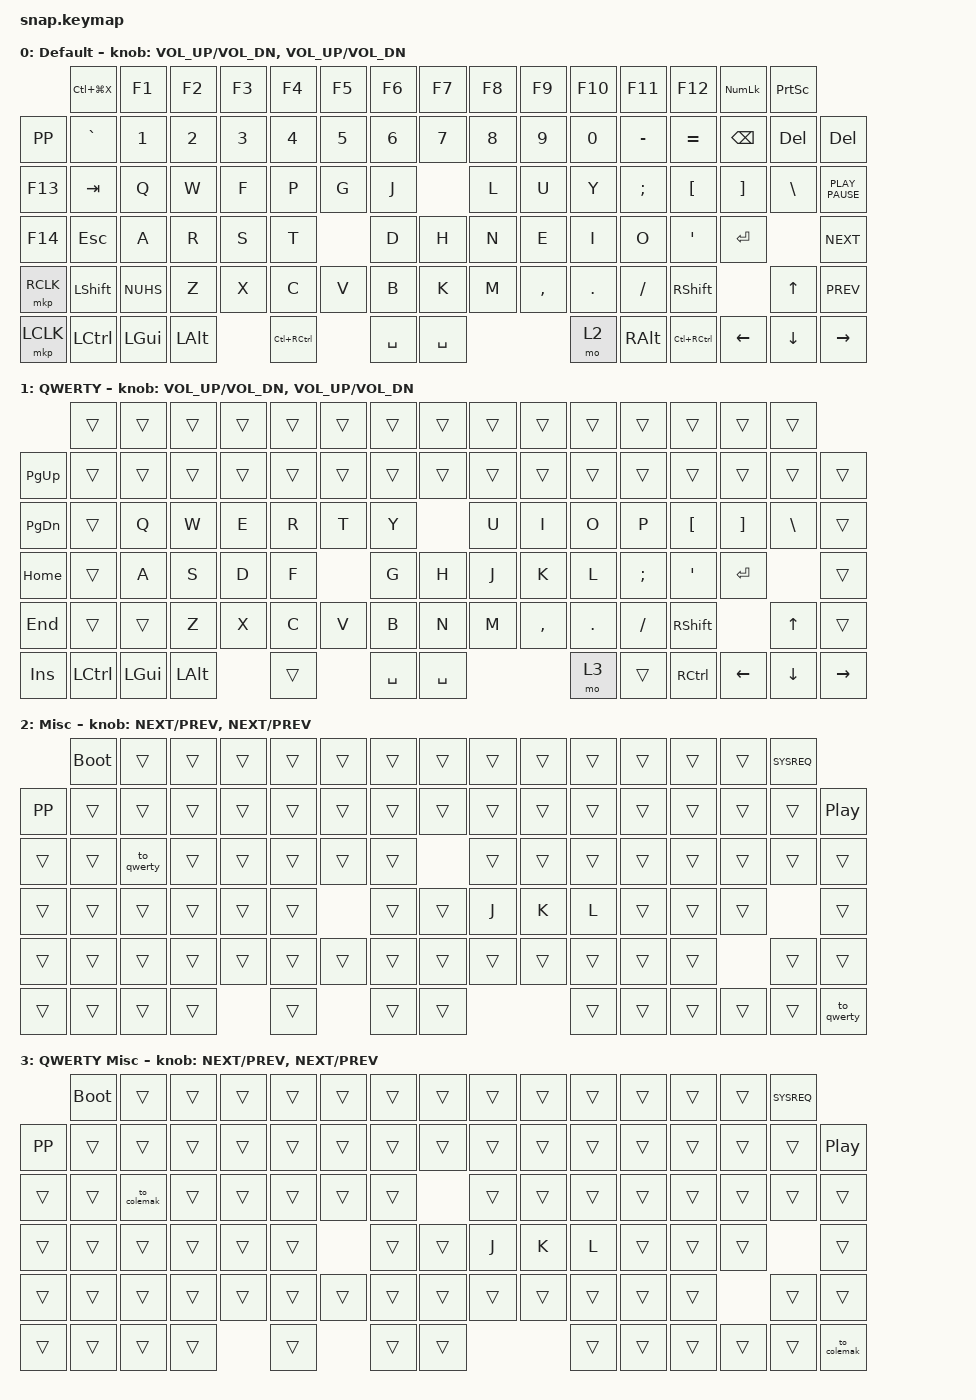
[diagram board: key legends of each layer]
/*
 * Copyright (c) 2022 The ZMK Contributors
 *
 * SPDX-License-Identifier: MIT
 */

#include <behaviors.dtsi>
#include <dt-bindings/zmk/keys.h>
#include <dt-bindings/zmk/ext_power.h>
#include <dt-bindings/zmk/mouse.h>
#include <dt-bindings/zmk/backlight.h>

/ {
	macros {
		to_qwerty: to_qwerty {
			compatible = "zmk,behavior-macro";
			#binding-cells = <0>;
			bindings = <&to 1>, <&bl BL_ON>;
		};

		to_colemak: to_colemak {
			compatible = "zmk,behavior-macro";
			#binding-cells = <0>;
			bindings = <&to 0>, <&bl BL_OFF>;
		};
	};

	sensors {
		compatible = "zmk,keymap-sensors";
		sensors = <&left_encoder &right_encoder>;
	};

	keymap {
		compatible = "zmk,keymap";

		default_layer {
			label = "Default";
			sensor-bindings = <&inc_dec_kp C_VOL_UP C_VOL_DN &inc_dec_kp C_VOL_UP C_VOL_DN>;
			bindings = <
             &kp LC(LG(X)) &kp F1 &kp F2   &kp F3   &kp F4   &kp F5   &kp F6     &kp F7   &kp F8   &kp F9    &kp F10  &kp F11     &kp F12     &kp KP_NUM   &kp PSCRN
&kp K_PP     &kp GRAVE   &kp N1   &kp N2   &kp N3   &kp N4   &kp N5   &kp N6     &kp N7   &kp N8   &kp N9    &kp N0   &kp MINUS   &kp EQUAL   &kp BSPC     &kp DEL    &kp DEL
&kp F13          &kp TAB  &kp Q    &kp W    &kp F    &kp P             &kp G      &kp J    &kp L    &kp U     &kp Y    &kp SEMI    &kp LBKT    &kp RBKT     &kp BSLH   &kp K_PLAY_PAUSE
&kp F14          &kp ESC &kp A   &kp R    &kp S    &kp T             &kp D      &kp H    &kp N    &kp E     &kp I    &kp O       &kp SQT     &kp RET                 &kp K_NEXT
&mkp RCLK    &kp LSHFT   &kp NUHS &kp Z    &kp X    &kp C    &kp V    &kp B      &kp K    &kp M    &kp COMMA &kp DOT  &kp FSLH    &kp RSHFT                &kp UP     &kp K_PREV
&mkp LCLK    &kp LCTRL   &kp LGUI &kp LALT          &kp LC(RCTRL)    &kp SPACE    &kp SPACE                  &mo 2    &kp RALT    &kp LC(RCTRL) &kp LEFT   &kp DOWN   &kp RIGHT
			>;
		};

		qwerty_layer {
			label = "QWERTY";
			sensor-bindings = <&inc_dec_kp C_VOL_UP C_VOL_DN &inc_dec_kp C_VOL_UP C_VOL_DN>;
			bindings = <
             &trans      &trans   &trans   &trans   &trans   &trans   &trans     &trans   &trans   &trans    &trans   &trans      &trans      &trans       &trans
&kp PG_UP  &trans      &trans   &trans   &trans   &trans   &trans   &trans     &trans   &trans   &trans    &trans   &trans      &trans      &trans       &trans     &trans
&kp PG_DN  &trans      &kp Q    &kp W    &kp E    &kp R             &kp T      &kp Y    &kp U    &kp I     &kp O    &kp P       &kp LBKT    &kp RBKT     &kp BSLH   &trans
&kp HOME   &trans      &kp A    &kp S    &kp D    &kp F             &kp G      &kp H    &kp J    &kp K     &kp L    &kp SEMI    &kp SQT     &kp RET                 &trans
&kp END    &trans      &trans   &kp Z    &kp X    &kp C    &kp V    &kp B      &kp N    &kp M    &kp COMMA &kp DOT  &kp FSLH    &kp RSHFT                &kp UP     &trans
&kp INS    &kp LCTRL   &kp LGUI &kp LALT          &trans           &kp SPACE    &kp SPACE                  &mo 3    &trans    &kp RCTRL  &kp LEFT     &kp DOWN   &kp RIGHT
			>;
		};
		misc_layer {
			label = "Misc";
			sensor-bindings = <&inc_dec_kp C_NEXT C_PREV &inc_dec_kp C_NEXT C_PREV>;
			bindings = <
             &bootloader &trans   &trans   &trans   &trans   &trans   &trans     &trans   &trans   &trans   &trans    &trans      &trans      &trans       &kp SYSREQ
&kp K_PP     &trans      &trans   &trans   &trans   &trans   &trans   &trans     &trans   &trans   &trans   &trans    &trans      &trans      &trans       &trans     &kp C_PP
&trans       &trans      &to_qwerty &trans   &trans   &trans            &trans     &trans   &trans   &trans   &trans    &trans      &trans      &trans       &trans     &trans
&trans       &trans      &trans   &trans   &trans   &trans            &trans     &trans   &kp J    &kp K    &kp L     &trans      &trans                   &trans     &trans
&trans       &trans      &trans   &trans   &trans   &trans   &trans   &trans     &trans   &trans   &trans   &trans    &trans          &trans  &trans &trans
&trans       &trans      &trans   &trans            &trans           &trans       &trans                    &trans    &trans  &trans  &trans  &trans &to_qwerty
			>;
		};
		qwerty_misc_layer {
			label = "QWERTY Misc";
			sensor-bindings = <&inc_dec_kp C_NEXT C_PREV &inc_dec_kp C_NEXT C_PREV>;
			bindings = <
             &bootloader &trans   &trans   &trans   &trans   &trans   &trans     &trans   &trans   &trans   &trans    &trans      &trans      &trans       &kp SYSREQ
&kp K_PP     &trans      &trans   &trans   &trans   &trans   &trans   &trans     &trans   &trans   &trans   &trans    &trans      &trans      &trans       &trans     &kp C_PP
&trans       &trans      &to_colemak &trans   &trans   &trans            &trans     &trans   &trans   &trans   &trans    &trans      &trans      &trans       &trans     &trans
&trans       &trans      &trans   &trans   &trans   &trans            &trans     &trans   &kp J    &kp K    &kp L     &trans      &trans                   &trans     &trans
&trans       &trans      &trans   &trans   &trans   &trans   &trans   &trans     &trans   &trans   &trans   &trans    &trans          &trans  &trans &trans
&trans       &trans      &trans   &trans            &trans           &trans       &trans                    &trans    &trans  &trans  &trans  &trans &to_colemak
			>;
		};
	};
};
